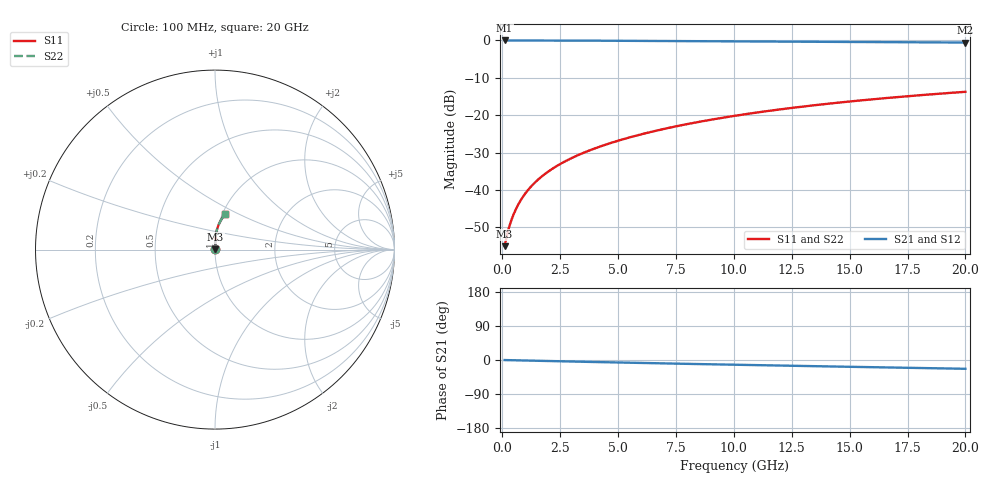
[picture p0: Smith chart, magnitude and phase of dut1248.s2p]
! Touchstone file exported from HFSS 2024.1.0
!  File:  C:/UserFiles/LocalFiles/RDL_TSV_Batchsim/temp_RDL_bottom_1248_1780245286.aedt
!  Generated:  12:37:05 AM Jun  1, 2026
!  Design:  RDL_bottom
!  Project:  temp_RDL_bottom_1248_1780245286
!  Setup:  Setup1
!  Solution:  Sweep
! Variables:
!  dtsv = 10.80580581um
!  hbump = 3um
!  htsv = 97.57um
!  ldown = 342.98um
!  lrdl = 100um
!  p = 40
!  p1 = 41.81um
!  rhole = 1um
!  t = 450um
!  tdown = 4.28um
!  trdl = 3.915915916um
!  wdown = 22.26um
!  wrdl = 20um
# GHz S MA R 50.000000
! Terminal data exported
! Port[1] = RDL1_T1
! Port[2] = RDL1_T2
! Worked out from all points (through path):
!   200 points, 100 MHz to 20 GHz, reference 50 ohm
!   highest |S21| = -0.01 dB at 100 MHz (marker M1); lowest = -0.6 dB at 20 GHz (marker M2)
!   group delay of S21, straight-line fit = 3.19 ps
!   lowest |S11| = -55.0 dB at 100 MHz (marker M3), VSWR 1.00, Z = 50.1 + j0.101 ohm
!   |S11| at or under -10 dB: start of sweep to end of sweep
!   |S22| runs from -55.0 to -13.7 dB; largest |S21 - S12| = 5.5e-15
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0.1  0.001777 34.6  0.9985 -0.1  0.9985 -0.1  0.001777 34.6
! Gamma 0 0 0 0
! Port Impedance 50 0 50 0
0.2  0.002479 51.1  0.9984 -0.3  0.9984 -0.3  0.002479 51.0
0.3  0.003236 59.9  0.9983 -0.4  0.9983 -0.4  0.003235 59.9
0.4  0.00402 65.6  0.9982 -0.6  0.9982 -0.6  0.00402 65.6
0.5  0.004828 69.6  0.9981 -0.7  0.9981 -0.7  0.004828 69.6
0.6  0.005652 72.6  0.998 -0.8  0.998 -0.8  0.005652 72.6
0.8  0.007337 76.6  0.9979 -1.1  0.9979 -1.1  0.007337 76.6
1.1  0.009914 80.1  0.9976 -1.5  0.9976 -1.5  0.009914 80.1
1.5  0.0134 82.7  0.9971 -2.0  0.9971 -2.0  0.0134 82.7
1.8  0.01604 84.0  0.9967 -2.4  0.9967 -2.4  0.01604 84.0
2.1  0.0187 84.9  0.9962 -2.8  0.9962 -2.8  0.0187 84.9
2.7  0.02407 86.2  0.995 -3.6  0.995 -3.6  0.02407 86.2
3.5  0.03138 87.2  0.993 -4.7  0.993 -4.7  0.03138 87.2
4.2  0.03794 87.7  0.991 -5.6  0.991 -5.6  0.03794 87.7
5  0.04563 88.0  0.9886 -6.6  0.9886 -6.6  0.04563 88.0
6.8  0.06371 87.8  0.9824 -8.8  0.9824 -8.8  0.06371 87.8
8.4  0.08053 87.0  0.9767 -10.6  0.9767 -10.6  0.08053 86.9
10.1  0.0989 85.6  0.9706 -12.6  0.9706 -12.6  0.09889 85.6
11.7  0.1164 84.0  0.9649 -14.4  0.9649 -14.4  0.1164 84.0
13.4  0.1351 82.1  0.959 -16.2  0.959 -16.2  0.1351 82.1
16.7  0.1709 78.2  0.9476 -19.7  0.9476 -19.7  0.1709 78.2
20  0.2056 74.2  0.9364 -23.2  0.9364 -23.2  0.2055 74.2
